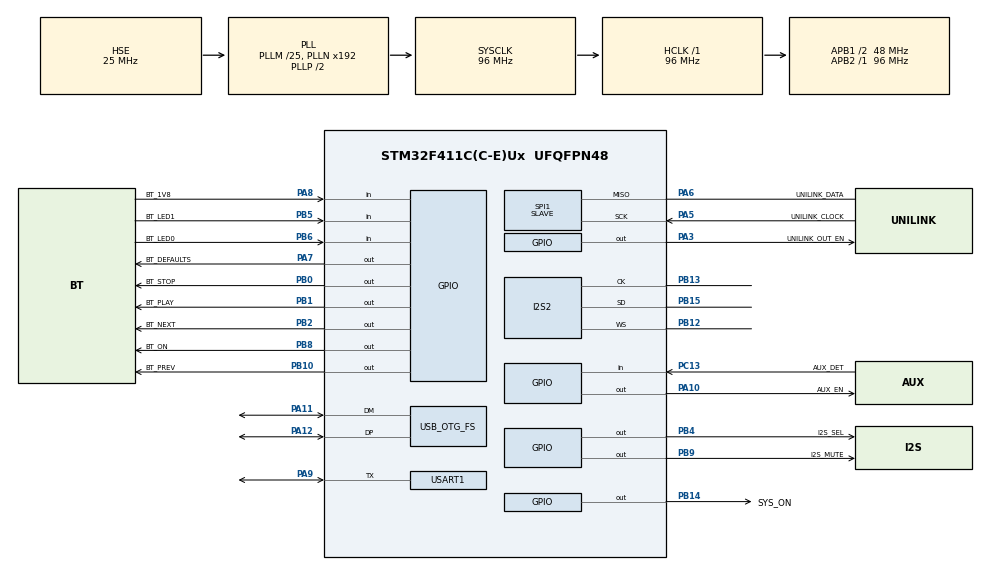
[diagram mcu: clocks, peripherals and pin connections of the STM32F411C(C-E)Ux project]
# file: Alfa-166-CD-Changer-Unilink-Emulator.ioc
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Dma.MEMTOMEM.0.Direction=DMA_MEMORY_TO_MEMORY
Dma.MEMTOMEM.0.FIFOMode=DMA_FIFOMODE_ENABLE
Dma.MEMTOMEM.0.FIFOThreshold=DMA_FIFO_THRESHOLD_FULL
Dma.MEMTOMEM.0.Instance=DMA2_Stream0
Dma.MEMTOMEM.0.MemBurst=DMA_MBURST_SINGLE
Dma.MEMTOMEM.0.MemDataAlignment=DMA_MDATAALIGN_BYTE
Dma.MEMTOMEM.0.MemInc=DMA_MINC_ENABLE
Dma.MEMTOMEM.0.Mode=DMA_NORMAL
Dma.MEMTOMEM.0.PeriphBurst=DMA_PBURST_SINGLE
Dma.MEMTOMEM.0.PeriphDataAlignment=DMA_PDATAALIGN_BYTE
Dma.MEMTOMEM.0.PeriphInc=DMA_PINC_ENABLE
Dma.MEMTOMEM.0.Priority=DMA_PRIORITY_HIGH
Dma.Request0=MEMTOMEM
Dma.Request1=SPI2_TX
Dma.SPI2_TX.1.Direction=DMA_MEMORY_TO_PERIPH
Dma.SPI2_TX.1.FIFOMode=DMA_FIFOMODE_DISABLE
Dma.SPI2_TX.1.Instance=DMA1_Stream4
Dma.SPI2_TX.1.MemDataAlignment=DMA_MDATAALIGN_HALFWORD
Dma.SPI2_TX.1.MemInc=DMA_MINC_ENABLE
Dma.SPI2_TX.1.Mode=DMA_CIRCULAR
Dma.SPI2_TX.1.PeriphDataAlignment=DMA_PDATAALIGN_HALFWORD
Dma.SPI2_TX.1.PeriphInc=DMA_PINC_DISABLE
Dma.SPI2_TX.1.Priority=DMA_PRIORITY_LOW
FATFS._FS_LOCK=0
FATFS._FS_RPATH=2
FATFS._USE_FIND=1
FATFS._USE_MKFS=0
I2S2.AudioFreq=I2S_AUDIOFREQ_44K
I2S2.ErrorAudioFreq=0.22 %
I2S2.FullDuplexMode=I2S_FULLDUPLEXMODE_DISABLE
I2S2.Instance=SPI$Index
I2S2.RealAudioFreq=44.1 KHz
I2S2.VirtualMode=I2S_MODE_MASTER
IWDG.Prescaler=IWDG_PRESCALER_256
IWDG.Reload=625
Mcu.Family=STM32F4
Mcu.Name=STM32F411C(C-E)Ux
Mcu.Package=UFQFPN48
NVIC.DMA1_Stream4_IRQn=true\:0\:0\:false\:false\:true\:false\:true\:true
NVIC.OTG_FS_IRQn=true\:4\:0\:true\:false\:true\:true\:true\:true
NVIC.PriorityGroup=NVIC_PRIORITYGROUP_4
NVIC.SPI1_IRQn=true\:1\:0\:true\:false\:true\:true\:true\:true
NVIC.TIM1_UP_TIM10_IRQn=true\:2\:0\:true\:false\:true\:true\:true\:true
PA10.GPIO_Label=AUX_EN
PA10.GPIO_PuPd=GPIO_NOPULL
PA10.Signal=GPIO_Output
PA11.Mode=Host_Only
PA11.Signal=USB_OTG_FS_DM
PA12.Mode=Host_Only
PA12.Signal=USB_OTG_FS_DP
PA13.Mode=Trace_Asynchronous_SW
PA13.Signal=SYS_JTMS-SWDIO
PA14.Mode=Trace_Asynchronous_SW
PA14.Signal=SYS_JTCK-SWCLK
PA3.GPIO_Label=UNILINK_OUT_EN
PA3.Signal=GPIO_Output
PA5.GPIO_Label=UNILINK_CLOCK
PA5.GPIO_PuPd=GPIO_NOPULL
PA5.GPIO_Speed=GPIO_SPEED_FREQ_LOW
PA5.Mode=Simplex_Bidirectional_Slave
PA5.Signal=SPI1_SCK
PA6.GPIO_Label=UNILINK_DATA
PA6.GPIO_PuPd=GPIO_PULLDOWN
PA6.GPIO_Speed=GPIO_SPEED_FREQ_LOW
PA6.Mode=Simplex_Bidirectional_Slave
PA6.Signal=SPI1_MISO
PA7.GPIO_Label=BT_DEFAULTS
PA7.GPIO_ModeDefaultOutputPP=GPIO_MODE_OUTPUT_OD
PA7.GPIO_PuPd=GPIO_NOPULL
PA7.PinState=GPIO_PIN_SET
PA7.Signal=GPIO_Output
PA8.GPIO_Label=BT_1V8
PA8.GPIO_PuPd=GPIO_PULLDOWN
PA8.Signal=GPIO_Input
PA9.Mode=Half_duplex(single_wire_mode)
PA9.Signal=USART1_TX
PB0.GPIO_Label=BT_STOP
PB0.GPIO_ModeDefaultOutputPP=GPIO_MODE_OUTPUT_OD
PB0.GPIO_PuPd=GPIO_NOPULL
PB0.PinState=GPIO_PIN_SET
PB0.Signal=GPIO_Output
PB1.GPIO_Label=BT_PLAY
PB1.GPIO_ModeDefaultOutputPP=GPIO_MODE_OUTPUT_OD
PB1.GPIO_PuPd=GPIO_NOPULL
PB1.PinState=GPIO_PIN_SET
PB1.Signal=GPIO_Output
PB10.GPIO_Label=BT_PREV
PB10.GPIO_ModeDefaultOutputPP=GPIO_MODE_OUTPUT_OD
PB10.GPIO_PuPd=GPIO_NOPULL
PB10.PinState=GPIO_PIN_SET
PB10.Signal=GPIO_Output
PB12.Mode=Half_Duplex_Master
PB12.Signal=I2S2_WS
PB13.Mode=Half_Duplex_Master
PB13.Signal=I2S2_CK
PB14.GPIO_Label=SYS_ON
PB14.GPIO_PuPd=GPIO_PULLDOWN
PB14.Signal=GPIO_Output
PB15.Mode=Half_Duplex_Master
PB15.Signal=I2S2_SD
PB2.GPIO_Label=BT_NEXT
PB2.GPIO_ModeDefaultOutputPP=GPIO_MODE_OUTPUT_OD
PB2.GPIO_PuPd=GPIO_NOPULL
PB2.PinState=GPIO_PIN_SET
PB2.Signal=GPIO_Output
PB3.Mode=Trace_Asynchronous_SW
PB3.Signal=SYS_JTDO-SWO
PB4.GPIO_Label=I2S_SEL
PB4.Signal=GPIO_Output
PB5.GPIO_Label=BT_LED1
PB5.GPIO_PuPd=GPIO_PULLUP
PB5.Signal=GPIO_Input
PB6.GPIO_Label=BT_LED0
PB6.GPIO_PuPd=GPIO_PULLUP
PB6.Signal=GPIO_Input
PB8.GPIO_Label=BT_ON
PB8.GPIO_ModeDefaultOutputPP=GPIO_MODE_OUTPUT_PP
PB8.GPIO_PuPd=GPIO_NOPULL
PB8.PinState=GPIO_PIN_RESET
PB8.Signal=GPIO_Output
PB9.GPIO_Label=I2S_MUTE
PB9.Signal=GPIO_Output
PC13-ANTI_TAMP.GPIO_Label=AUX_DET
PC13-ANTI_TAMP.Signal=GPIO_Input
PH0\ -\ OSC_IN.Mode=HSE-External-Oscillator
PH0\ -\ OSC_IN.Signal=RCC_OSC_IN
PH1\ -\ OSC_OUT.Mode=HSE-External-Oscillator
PH1\ -\ OSC_OUT.Signal=RCC_OSC_OUT
ProjectManager.HeapSize=0x8000
ProjectManager.StackSize=0x400
ProjectManager.TargetToolchain=STM32CubeIDE
RCC.48MHZClocksFreq_Value=48000000
RCC.AHBFreq_Value=96000000
RCC.APB1CLKDivider=RCC_HCLK_DIV2
RCC.APB1Freq_Value=48000000
RCC.APB1TimFreq_Value=96000000
RCC.APB2Freq_Value=96000000
RCC.APB2TimFreq_Value=96000000
RCC.CortexFreq_Value=96000000
RCC.HCLKFreq_Value=96000000
RCC.HSE_VALUE=25000000
RCC.HSI_VALUE=16000000
RCC.LSE_VALUE=32768
RCC.PLLI2SM=25
RCC.PLLI2SN=302
RCC.PLLM=25
RCC.SYSCLKFreq_VALUE=96000000
RCC.SYSCLKSource=RCC_SYSCLKSOURCE_PLLCLK
RCC.VCOOutputFreq_Value=192000000
SPI1.CLKPhase=SPI_PHASE_2EDGE
SPI1.Direction=SPI_DIRECTION_1LINE
SPI1.Mode=SPI_MODE_SLAVE
SPI1.VirtualType=VM_SLAVE
TIM10.ClockDivision=TIM_CLOCKDIVISION_DIV1
TIM10.Period=1500
TIM10.Prescaler=95
USART1.BaudRate=921600
USART1.VirtualMode=VM_ASYNC
USB_HOST.USBH_DEBUG_LEVEL=0
USB_HOST.USBH_HandleTypeDef=hUsbHostFS
USB_HOST.USBH_MAX_NUM_ENDPOINTS=2
USB_HOST.USBH_MAX_NUM_INTERFACES=2
USB_HOST.USBH_MAX_SIZE_CONFIGURATION=512
USB_HOST.VirtualModeFS=Msc
USB_OTG_FS.VirtualMode=Host_Only
USB_OTG_FS.phy_itface=HCD_PHY_EMBEDDED
VP_CRC_VS_CRC.Mode=CRC_Activate
VP_FATFS_VS_USB.Mode=USB
VP_IWDG_VS_IWDG.Mode=IWDG_Activate
VP_TIM10_VS_ClockSourceINT.Mode=Enable_Timer
VP_USB_HOST_VS_USB_HOST_MSC_FS.Mode=MSC_FS
board=custom

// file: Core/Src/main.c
/* USER CODE BEGIN Header */
/**
 ******************************************************************************
 * @file           : main.c
 * @brief          : Main program body
 ******************************************************************************
 * @attention
 *
 * <h2><center>&copy; Copyright (c) 2020 STMicroelectronics.
 * All rights reserved.</center></h2>
 *
 * This software component is licensed by ST under BSD 3-Clause license,
 * the "License"; You may not use this file except in compliance with the
 * License. You may obtain a copy of the License at:
 *                        opensource.org/licenses/BSD-3-Clause
 *
 ******************************************************************************
 */
/* USER CODE END Header */
#include "main.h"
#include "fatfs.h"
#include "usb_host.h"

/* USER CODE BEGIN Includes */
#include "unilink_log.h"
#include "serial.h"
#include "files.h"
#include "audioSrc.h"
#include "audioDecode.h"
#include "bt.h"
#include "opus.h"
/* USER CODE END Includes */

CRC_HandleTypeDef hcrc;

I2S_HandleTypeDef hi2s2;
DMA_HandleTypeDef hdma_spi2_tx;

IWDG_HandleTypeDef hiwdg;

SPI_HandleTypeDef hspi1;

TIM_HandleTypeDef htim10;

UART_HandleTypeDef huart1;

DMA_HandleTypeDef hdma_memtomem_dma2_stream0;

void SystemClock_Config(void);
static void MX_GPIO_Init(void);
static void MX_DMA_Init(void);
static void MX_TIM10_Init(void);
static void MX_CRC_Init(void);
static void MX_SPI1_Init(void);
static void MX_USART1_UART_Init(void);
static void MX_IWDG_Init(void);
static void MX_I2S2_Init(void);
void MX_USB_HOST_Process(void);

/* USER CODE BEGIN PFP */

extern const unsigned int _Min_Heap_Size;
unsigned int _heap_size = (unsigned int) (&_Min_Heap_Size);

#ifdef DEBUG_HEAP
struct mallinfo mi;
uint32_t max_allocated;

void debug_heap(void) {
    mi = mallinfo();
    if (mi.uordblks > max_allocated)
        max_allocated = mi.uordblks;

    iprintf("HEAP    Used:%u    Free:%u\r\n", mi.uordblks, mi.fordblks);
}
void * _calloc(size_t n, size_t s){
    void * p = calloc(n, s);
    debug_heap();
    return(p);
}

void * _malloc(size_t s){
    void * p = malloc(s);
    debug_heap();
    return(p);
}
void _free(void *p){
    free(p);
    debug_heap();
}
#endif

/* USER CODE END PFP */

/* USER CODE BEGIN 0 */

/*
bool opus_opened = 0;
static DWORD clmt[32];
stb_vorbis vorbis;
short bf[2048];
short *bfa = bf;
short **bfb = &bfa;
*/

/* USER CODE END 0 */

int main(void)
{
  /* USER CODE BEGIN 1 */
    uint8_t *mall;
    uint32_t i=128U*1024;
    for (; i; i-=128){
        mall = malloc(i);                // Allocate all the heap possible and then free it. Now the system knows the heap size, and won't cause internal fragmentation.
        if (mall) break;
    }
    if(mall==NULL || i<(_heap_size))      // Failed to allocate or low in memory
        Error_Handler();
    free(mall);

  /* USER CODE END 1 */

  /* MCU Configuration--------------------------------------------------------*/

  /* Reset of all peripherals, Initializes the Flash interface and the Systick. */
  HAL_Init();

  /* Configure the system clock */
  SystemClock_Config();

  /* Initialize all configured peripherals */
  MX_GPIO_Init();
  MX_DMA_Init();
  MX_TIM10_Init();
  MX_CRC_Init();
  MX_SPI1_Init();
  MX_FATFS_Init();
  MX_USB_HOST_Init();
  MX_USART1_UART_Init();
  MX_IWDG_Init();
  MX_I2S2_Init();
  /* USER CODE BEGIN 2 */

    //while(HAL_GetTick()<50);
    //addInputDebounce(&button);
    __HAL_DBGMCU_FREEZE_TIM10();

#ifdef UART_PRINT
    initSerial(&huart1);
#endif

    putString("System init...\r\n");

#ifdef DEBUG_ALLOC
    debug_heap();
#endif
#if defined AUDIO_SUPPORT || defined USB_LOG
    initFS();
#endif
    unilink_init(&hspi1, &htim10);
#ifdef AUDIO_SUPPORT
    initAudio(&hi2s2);
#endif

  /* USER CODE END 2 */

  /* Infinite loop */
  /* USER CODE BEGIN WHILE */

    while (1) {
        monitorAudioSource();
#if defined AUDIO_SUPPORT || defined USB_LOG
        handleFS();
#endif
#if defined USB_LOG
    handle_log();
#endif
#ifdef AUDIO_SUPPORT
        handleAudio();
#endif
        unilink_handle();

    /* USER CODE END WHILE */
    MX_USB_HOST_Process();

    /* USER CODE BEGIN 3 */
        /*
         if(systemStatus.driveStatus==drive_ready && opus_opened==0){
         if(f_chdir("/") != FR_OK){               // Change dir
         putString("Error opening folder\r\n");
         }
         else if(f_open(systemStatus.file, "file.opu", FA_READ) != FR_OK ){  // Open file
         putString("SYSTEM: Error opening file\r\n");
         }
         else{
         clmt[0] = 32;                                                               // Set table size
         systemStatus.file->cltbl = clmt;                                                      // Enable fast seek feature (cltbl != NULL)
         if(f_lseek(systemStatus.file, CREATE_LINKMAP) != FR_OK){        // Create CLMT
         f_close( systemStatus.file );
         putString("SYSTEM: FatFS Seek error\r\n");
         }
         else{
         opus_opened=1;
         int error;
         stb_vorbis_open_file(systemStatus.file, 1, &error, NULL);
         stb_vorbis_get_samples_short(&vorbis, 2, bfb, 1024);
         }
         }
         }
         */

        HAL_IWDG_Refresh(&hiwdg);
    }
  /* USER CODE END 3 */
}

void SystemClock_Config(void)
{
  RCC_OscInitTypeDef RCC_OscInitStruct = {0};
  RCC_ClkInitTypeDef RCC_ClkInitStruct = {0};

  /** Configure the main internal regulator output voltage
  */
  __HAL_RCC_PWR_CLK_ENABLE();
  __HAL_PWR_VOLTAGESCALING_CONFIG(PWR_REGULATOR_VOLTAGE_SCALE1);

  /** Initializes the RCC Oscillators according to the specified parameters
  * in the RCC_OscInitTypeDef structure.
  */
  RCC_OscInitStruct.OscillatorType = RCC_OSCILLATORTYPE_LSI|RCC_OSCILLATORTYPE_HSE;
  RCC_OscInitStruct.HSEState = RCC_HSE_ON;
  RCC_OscInitStruct.LSIState = RCC_LSI_ON;
  RCC_OscInitStruct.PLL.PLLState = RCC_PLL_ON;
  RCC_OscInitStruct.PLL.PLLSource = RCC_PLLSOURCE_HSE;
  RCC_OscInitStruct.PLL.PLLM = 25;
  RCC_OscInitStruct.PLL.PLLN = 192;
  RCC_OscInitStruct.PLL.PLLP = RCC_PLLP_DIV2;
  RCC_OscInitStruct.PLL.PLLQ = 4;
  if (HAL_RCC_OscConfig(&RCC_OscInitStruct) != HAL_OK)
  {
    Error_Handler();
  }

  /** Initializes the CPU, AHB and APB buses clocks
  */
  RCC_ClkInitStruct.ClockType = RCC_CLOCKTYPE_HCLK|RCC_CLOCKTYPE_SYSCLK
                              |RCC_CLOCKTYPE_PCLK1|RCC_CLOCKTYPE_PCLK2;
  RCC_ClkInitStruct.SYSCLKSource = RCC_SYSCLKSOURCE_PLLCLK;
  RCC_ClkInitStruct.AHBCLKDivider = RCC_SYSCLK_DIV1;
  RCC_ClkInitStruct.APB1CLKDivider = RCC_HCLK_DIV2;
  RCC_ClkInitStruct.APB2CLKDivider = RCC_HCLK_DIV1;

  if (HAL_RCC_ClockConfig(&RCC_ClkInitStruct, FLASH_LATENCY_3) != HAL_OK)
  {
    Error_Handler();
  }
}

static void MX_CRC_Init(void)
{

  hcrc.Instance = CRC;
  if (HAL_CRC_Init(&hcrc) != HAL_OK)
  {
    Error_Handler();
  }

}

static void MX_I2S2_Init(void)
{

  hi2s2.Instance = SPI2;
  hi2s2.Init.Mode = I2S_MODE_MASTER_TX;
  hi2s2.Init.Standard = I2S_STANDARD_PHILIPS;
  hi2s2.Init.DataFormat = I2S_DATAFORMAT_16B;
  hi2s2.Init.MCLKOutput = I2S_MCLKOUTPUT_DISABLE;
  hi2s2.Init.AudioFreq = I2S_AUDIOFREQ_44K;
  hi2s2.Init.CPOL = I2S_CPOL_LOW;
  hi2s2.Init.ClockSource = I2S_CLOCK_PLL;
  hi2s2.Init.FullDuplexMode = I2S_FULLDUPLEXMODE_DISABLE;
  if (HAL_I2S_Init(&hi2s2) != HAL_OK)
  {
    Error_Handler();
  }

}

static void MX_IWDG_Init(void)
{

  hiwdg.Instance = IWDG;
  hiwdg.Init.Prescaler = IWDG_PRESCALER_256;
  hiwdg.Init.Reload = 625;
  if (HAL_IWDG_Init(&hiwdg) != HAL_OK)
  {
    Error_Handler();
  }

}

static void MX_SPI1_Init(void)
{

  /* SPI1 parameter configuration*/
  hspi1.Instance = SPI1;
  hspi1.Init.Mode = SPI_MODE_SLAVE;
  hspi1.Init.Direction = SPI_DIRECTION_1LINE;
  hspi1.Init.DataSize = SPI_DATASIZE_8BIT;
  hspi1.Init.CLKPolarity = SPI_POLARITY_LOW;
  hspi1.Init.CLKPhase = SPI_PHASE_2EDGE;
  hspi1.Init.NSS = SPI_NSS_SOFT;
  hspi1.Init.FirstBit = SPI_FIRSTBIT_MSB;
  hspi1.Init.TIMode = SPI_TIMODE_DISABLE;
  hspi1.Init.CRCCalculation = SPI_CRCCALCULATION_DISABLE;
  hspi1.Init.CRCPolynomial = 10;
  if (HAL_SPI_Init(&hspi1) != HAL_OK)
  {
    Error_Handler();
  }

}

static void MX_TIM10_Init(void)
{

  htim10.Instance = TIM10;
  htim10.Init.Prescaler = 95;
  htim10.Init.CounterMode = TIM_COUNTERMODE_UP;
  htim10.Init.Period = 1500;
  htim10.Init.ClockDivision = TIM_CLOCKDIVISION_DIV1;
  htim10.Init.AutoReloadPreload = TIM_AUTORELOAD_PRELOAD_DISABLE;
  if (HAL_TIM_Base_Init(&htim10) != HAL_OK)
  {
    Error_Handler();
  }

}

static void MX_USART1_UART_Init(void)
{

  huart1.Instance = USART1;
  huart1.Init.BaudRate = 921600;
  huart1.Init.WordLength = UART_WORDLENGTH_8B;
  huart1.Init.StopBits = UART_STOPBITS_1;
  huart1.Init.Parity = UART_PARITY_NONE;
  huart1.Init.Mode = UART_MODE_TX_RX;
  huart1.Init.HwFlowCtl = UART_HWCONTROL_NONE;
  huart1.Init.OverSampling = UART_OVERSAMPLING_16;
  if (HAL_HalfDuplex_Init(&huart1) != HAL_OK)
  {
    Error_Handler();
  }

}

static void MX_DMA_Init(void)
{

  /* DMA controller clock enable */
  __HAL_RCC_DMA2_CLK_ENABLE();
  __HAL_RCC_DMA1_CLK_ENABLE();

  /* Configure DMA request hdma_memtomem_dma2_stream0 on DMA2_Stream0 */
  hdma_memtomem_dma2_stream0.Instance = DMA2_Stream0;
  hdma_memtomem_dma2_stream0.Init.Channel = DMA_CHANNEL_0;
  hdma_memtomem_dma2_stream0.Init.Direction = DMA_MEMORY_TO_MEMORY;
  hdma_memtomem_dma2_stream0.Init.PeriphInc = DMA_PINC_ENABLE;
  hdma_memtomem_dma2_stream0.Init.MemInc = DMA_MINC_ENABLE;
  hdma_memtomem_dma2_stream0.Init.PeriphDataAlignment = DMA_PDATAALIGN_BYTE;
  hdma_memtomem_dma2_stream0.Init.MemDataAlignment = DMA_MDATAALIGN_BYTE;
  hdma_memtomem_dma2_stream0.Init.Mode = DMA_NORMAL;
  hdma_memtomem_dma2_stream0.Init.Priority = DMA_PRIORITY_HIGH;
  hdma_memtomem_dma2_stream0.Init.FIFOMode = DMA_FIFOMODE_ENABLE;
  hdma_memtomem_dma2_stream0.Init.FIFOThreshold = DMA_FIFO_THRESHOLD_FULL;
  hdma_memtomem_dma2_stream0.Init.MemBurst = DMA_MBURST_SINGLE;
  hdma_memtomem_dma2_stream0.Init.PeriphBurst = DMA_PBURST_SINGLE;
  if (HAL_DMA_Init(&hdma_memtomem_dma2_stream0) != HAL_OK)
  {
    Error_Handler( );
  }

  /* DMA interrupt init */
  /* DMA1_Stream4_IRQn interrupt configuration */
  HAL_NVIC_SetPriority(DMA1_Stream4_IRQn, 0, 0);
  HAL_NVIC_EnableIRQ(DMA1_Stream4_IRQn);

}

static void MX_GPIO_Init(void)
{
  GPIO_InitTypeDef GPIO_InitStruct = {0};

  /* GPIO Ports Clock Enable */
  __HAL_RCC_GPIOC_CLK_ENABLE();
  __HAL_RCC_GPIOH_CLK_ENABLE();
  __HAL_RCC_GPIOA_CLK_ENABLE();
  __HAL_RCC_GPIOB_CLK_ENABLE();

  /*Configure GPIO pin Output Level */
  HAL_GPIO_WritePin(GPIOA, UNILINK_OUT_EN_Pin|AUX_EN_Pin, GPIO_PIN_RESET);

  /*Configure GPIO pin Output Level */
  HAL_GPIO_WritePin(BT_DEFAULTS_GPIO_Port, BT_DEFAULTS_Pin, GPIO_PIN_SET);

  /*Configure GPIO pin Output Level */
  HAL_GPIO_WritePin(GPIOB, BT_STOP_Pin|BT_PLAY_Pin|BT_NEXT_Pin|BT_PREV_Pin, GPIO_PIN_SET);

  /*Configure GPIO pin Output Level */
  HAL_GPIO_WritePin(GPIOB, SYS_ON_Pin|I2S_SEL_Pin|BT_ON_Pin|I2S_MUTE_Pin, GPIO_PIN_RESET);

  /*Configure GPIO pin : AUX_DET_Pin */
  GPIO_InitStruct.Pin = AUX_DET_Pin;
  GPIO_InitStruct.Mode = GPIO_MODE_INPUT;
  GPIO_InitStruct.Pull = GPIO_NOPULL;
  HAL_GPIO_Init(AUX_DET_GPIO_Port, &GPIO_InitStruct);

  /*Configure GPIO pins : UNILINK_OUT_EN_Pin AUX_EN_Pin */
  GPIO_InitStruct.Pin = UNILINK_OUT_EN_Pin|AUX_EN_Pin;
  GPIO_InitStruct.Mode = GPIO_MODE_OUTPUT_PP;
  GPIO_InitStruct.Pull = GPIO_NOPULL;
  GPIO_InitStruct.Speed = GPIO_SPEED_FREQ_LOW;
  HAL_GPIO_Init(GPIOA, &GPIO_InitStruct);

  /*Configure GPIO pin : BT_DEFAULTS_Pin */
  GPIO_InitStruct.Pin = BT_DEFAULTS_Pin;
  GPIO_InitStruct.Mode = GPIO_MODE_OUTPUT_OD;
  GPIO_InitStruct.Pull = GPIO_NOPULL;
  GPIO_InitStruct.Speed = GPIO_SPEED_FREQ_LOW;
  HAL_GPIO_Init(BT_DEFAULTS_GPIO_Port, &GPIO_InitStruct);

  /*Configure GPIO pins : BT_STOP_Pin BT_PLAY_Pin BT_NEXT_Pin BT_PREV_Pin */
  GPIO_InitStruct.Pin = BT_STOP_Pin|BT_PLAY_Pin|BT_NEXT_Pin|BT_PREV_Pin;
  GPIO_InitStruct.Mode = GPIO_MODE_OUTPUT_OD;
  GPIO_InitStruct.Pull = GPIO_NOPULL;
  GPIO_InitStruct.Speed = GPIO_SPEED_FREQ_LOW;
  HAL_GPIO_Init(GPIOB, &GPIO_InitStruct);

  /*Configure GPIO pin : SYS_ON_Pin */
  GPIO_InitStruct.Pin = SYS_ON_Pin;
  GPIO_InitStruct.Mode = GPIO_MODE_OUTPUT_PP;
  GPIO_InitStruct.Pull = GPIO_PULLDOWN;
  GPIO_InitStruct.Speed = GPIO_SPEED_FREQ_LOW;
  HAL_GPIO_Init(SYS_ON_GPIO_Port, &GPIO_InitStruct);

  /*Configure GPIO pin : BT_1V8_Pin */
  GPIO_InitStruct.Pin = BT_1V8_Pin;
  GPIO_InitStruct.Mode = GPIO_MODE_INPUT;
  GPIO_InitStruct.Pull = GPIO_PULLDOWN;
  HAL_GPIO_Init(BT_1V8_GPIO_Port, &GPIO_InitStruct);

  /*Configure GPIO pins : I2S_SEL_Pin BT_ON_Pin I2S_MUTE_Pin */
  GPIO_InitStruct.Pin = I2S_SEL_Pin|BT_ON_Pin|I2S_MUTE_Pin;
  GPIO_InitStruct.Mode = GPIO_MODE_OUTPUT_PP;
  GPIO_InitStruct.Pull = GPIO_NOPULL;
  GPIO_InitStruct.Speed = GPIO_SPEED_FREQ_LOW;
  HAL_GPIO_Init(GPIOB, &GPIO_InitStruct);

  /*Configure GPIO pins : BT_LED1_Pin BT_LED0_Pin */
  GPIO_InitStruct.Pin = BT_LED1_Pin|BT_LED0_Pin;
  GPIO_InitStruct.Mode = GPIO_MODE_INPUT;
  GPIO_InitStruct.Pull = GPIO_PULLUP;
  HAL_GPIO_Init(GPIOB, &GPIO_InitStruct);

/* USER CODE BEGIN MX_GPIO_Init_2 */
                                       // TODO: Set Option bytes BOR level 3 (STLink Tool) to keep the STM32 from rebooting when powering off!!
    SetPinHigh(SYS_ON);                // XXX: Turn on external mosfet as fast as we can before Unilink BUS_ON signal goes low!
/* USER CODE END MX_GPIO_Init_2 */
}

void Error_Handler(void)
{
  /* USER CODE BEGIN Error_Handler_Debug */
    /* User can add his own implementation to report the HAL error return state */
    __disable_irq();
    putString("\r\nERROR HANDLER\r\n");
    flashTrackSetDefaults();                    // Something weird happened, erase flash settings just in case
    NVIC_SystemReset();                         // Reset system.
    while (1) {
    }
  /* USER CODE END Error_Handler_Debug */
}
